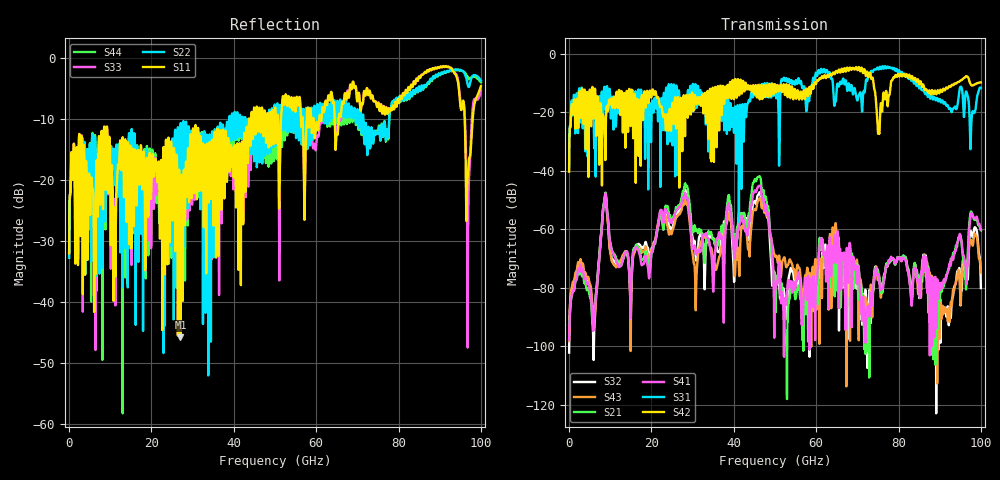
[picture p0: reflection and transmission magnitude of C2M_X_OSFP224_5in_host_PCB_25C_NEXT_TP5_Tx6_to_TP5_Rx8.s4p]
# GHz S RI R 45
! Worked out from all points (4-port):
!   4000 points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, 25 MHz to 100 GHz, reference 45 ohm
!   strongest paths, dB at 25 MHz, 25.02 GHz, 50.02 GHz, 75.03 GHz, 100 GHz:
!     S42: -40.3, -17.6, -10.9, -27.2, -9.9
!     S31: -38.9, -14.8, -10.6, -5.1, -11.7
!     S41: -97.6, -57.4, -81.3, -75.4, -60.0
!     S21: -92.4, -56.9, -78.6, -75.1, -60.4
!     S43: -98.1, -61.0, -69.2, -77.1, -74.8
!     S32: -102.1, -60.3, -76.2, -74.2, -80.0
!   lowest |S11| = -45.8 dB at 27.05 GHz (marker M1), VSWR 1.01, Z = 45.2 - j0.428 ohm
!   |S11| at or under -10 dB: start of sweep to 43.71 GHz; 59.39 GHz to 60.74 GHz (1.355 GHz wide, 2.26 % of centre); 96.08 GHz to 98 GHz (1.928 GHz wide, 1.99 % of centre) (the widest 3 of 21)
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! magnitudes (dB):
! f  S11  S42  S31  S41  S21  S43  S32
! 25 MHz  -32.0  -40.3  -38.9  -97.6  -92.4  -98.1  -102.1
! 8.675 GHz  -12.1  -25.6  -11.7  -49.8  -49.3  -49.8  -49.4
! 27.05 GHz  -45.8  -15.6  -21.4  -52.0  -51.1  -54.2  -53.0
! 34.98 GHz  -19.0  -12.6  -25.3  -80.8  -63.4  -69.8  -63.2
! 46.12 GHz  -8.5  -12.6  -11.2  -45.2  -42.0  -49.8  -47.8
! 52.25 GHz  -7.5  -11.6  -8.4  -93.4  -91.0  -69.6  -81.8
! 100 GHz  -4.6  -9.9  -11.7  -60.0  -60.4  -74.8  -80.0
